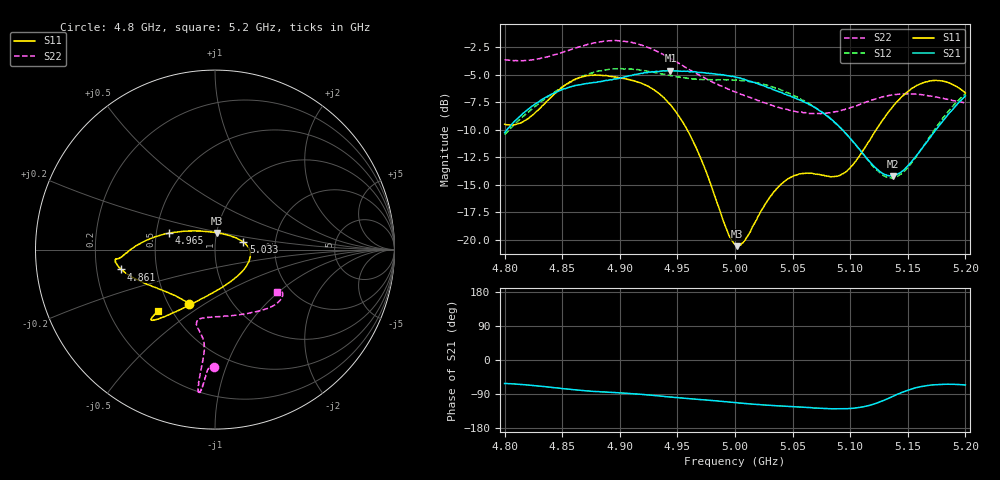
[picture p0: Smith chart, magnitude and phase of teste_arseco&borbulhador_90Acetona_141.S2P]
! Network Analyzer HP8722D
! Hewlett-Packard
! Data name: Linha & Wilkinson
! Saver's name: Rodrigo Anjos
! Comments: Teste da utilização de aquisição
! continua pelo VNA HP8722D
! Time and date: 17/4/2025 12:13
!  Frequency  S11  S21  S12  S22
# HZ  S  MA R 50
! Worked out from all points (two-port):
!   401 points, 4.8 GHz to 5.2 GHz, reference 50 ohm
!   highest |S21| = -4.64 dB at 4.944 GHz (marker M1); lowest = -14.2 dB at 5.137 GHz (marker M2)
!   |S21| within 3 dB of the highest: 4.827 GHz to 5.063 GHz (236.2 MHz wide, 4.78 % of centre); 5.19337 GHz to end of sweep
!   lowest |S11| = -20.6 dB at 5.002 GHz (marker M3), VSWR 1.21, Z = 50.3 + j9.41 ohm
!   |S11| at or under -10 dB: 4.958 GHz to 5.123 GHz (164.2 MHz wide, 3.26 % of centre)
!   |S22| runs from -8.6 to -1.9 dB; largest |S21 - S12| = 0.88
!   S11 on the Smith chart (normalised r, x): 4.8 GHz: 0.63, -0.43; 4.861 GHz: 0.31, -0.09; 4.965 GHz: 0.59, +0.12; 5.033 GHz: 1.37, +0.12; 5.2 GHz: 0.43, -0.37
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4.8e9  0.3345 -116.0  0.3062 -61.9  0.3001 -176.1  0.6565 -90.7
4.819e9  0.3515 -136.2  0.3855 -65.7  0.3739 -175.3  0.6521 -92.4
4.861e9  0.5348 -168.1  0.5016 -78.7  0.5322 -178.7  0.7386 -94.9
4.867e9  0.5481 -170.5  0.5069 -80.4  0.5518 -179.8  0.7566 -95.1
4.898e9  0.547 -174.6  0.5389 -86.2  0.5976 174.2  0.8015 -96.3
4.934e9  0.462 179.2  0.5806 -95.0  0.5713 170.6  0.7083 -96.8
4.944e9  0.4102 174.5  0.5861 -97.7  0.5559 170.9  0.6665 -96.6
4.965e9  0.2702 160.2  0.5796 -103.4  0.5368 172.7  0.5737 -96.1
4.993e9  0.1102 114.2  0.5561 -110.4  0.5316 174.9  0.4863 -98.7
5e9  0.09544 90.3  0.5485 -112.6  0.5306 174.9  0.4689 -100.0
5.002e9  0.09347 82.8  0.5458 -113.0  0.5297 174.9  0.4653 -100.6
5.009e9  0.09984 58.8  0.5326 -114.9  0.5276 174.8  0.4498 -102.1
5.033e9  0.1633 15.3  0.4808 -120.1  0.4925 173.4  0.4065 -104.0
5.05e9  0.1937 -1.2  0.4448 -123.2  0.4532 172.8  0.3854 -99.0
5.067e9  0.2002 -19.6  0.4055 -125.9  0.4073 172.6  0.3742 -89.7
5.097e9  0.2045 -72.3  0.3003 -128.5  0.301 174.7  0.3931 -66.3
5.121e9  0.3066 -109.6  0.2147 -115.9  0.2123 -170.9  0.4342 -49.8
5.134e9  0.3843 -119.9  0.1951 -100.0  0.1912 -153.1  0.4521 -43.3
5.137e9  0.4019 -121.7  0.1949 -96.0  0.1913 -148.4  0.4548 -42.1
5.15e9  0.4708 -127.2  0.2164 -79.9  0.2124 -129.5  0.4595 -37.4
5.17e9  0.5268 -131.6  0.2935 -66.1  0.2984 -112.5  0.4491 -32.9
5.2e9  0.4639 -132.9  0.4498 -66.0  0.4598 -108.1  0.4178 -34.5
